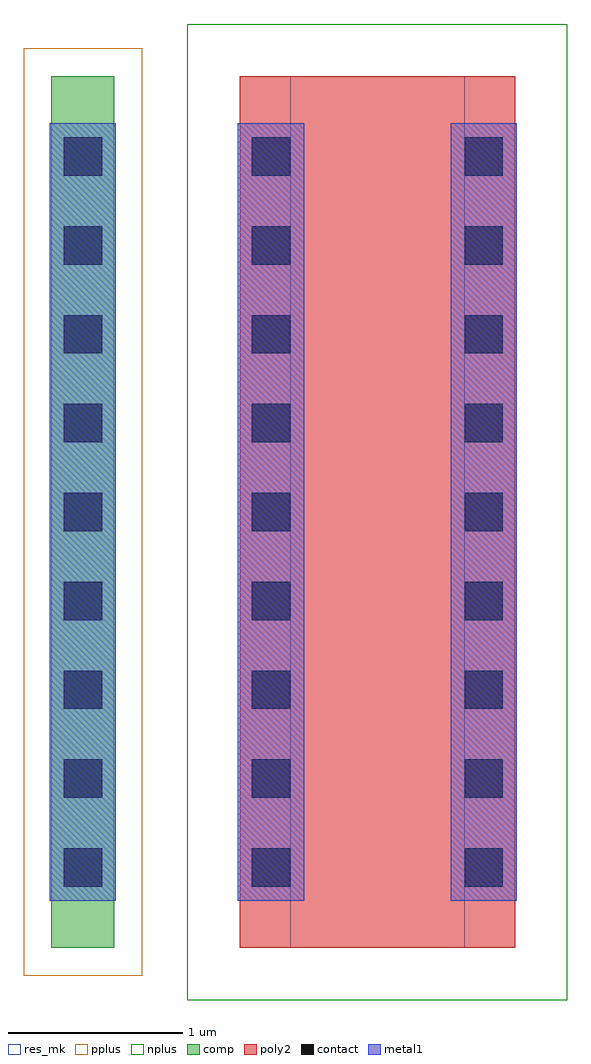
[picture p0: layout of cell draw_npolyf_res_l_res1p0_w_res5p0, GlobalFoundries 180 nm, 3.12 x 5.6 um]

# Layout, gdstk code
import gdstk
lib = gdstk.Library(unit=1e-6, precision=1e-09)
def R(c, l, rs):  # rectangles x0, y0, x1, y1
    for r in rs: c.add(gdstk.rectangle(r[:2], r[2:], *l))
def A(c, l, x, y, w, h, nx, ny, dx, dy):  # array of equal rectangles
    R(c, l, [(x+i*dx, y+j*dy, x+i*dx+w, y+j*dy+h) for i in range(nx) for j in range(ny)])
comp = (22, 0)
poly2 = (30, 0)
pplus = (31, 0)
nplus = (32, 0)
contact = (33, 0)
metal1 = (34, 0)
res_mk = (110, 5)

draw_npolyf_res_l_res1p0 = lib.new_cell('draw_npolyf_res_l_res1p0_w_res5p0')
R(draw_npolyf_res_l_res1p0, comp, [(-1.37,0,-1.01,5)])
R(draw_npolyf_res_l_res1p0, poly2, [(-0.29,0,1.29,5)])
R(draw_npolyf_res_l_res1p0, pplus, [(-1.53,-0.16,-0.85,5.16)])
R(draw_npolyf_res_l_res1p0, nplus, [(-0.59,-0.3,1.59,5.3)])
A(draw_npolyf_res_l_res1p0, contact, -1.3, 0.35, 0.22, 0.22, 1, 9, 0, 0.51)
A(draw_npolyf_res_l_res1p0, contact, -0.22, 0.35, 0.22, 0.22, 1, 9, 0, 0.51)
A(draw_npolyf_res_l_res1p0, contact, 1, 0.35, 0.22, 0.22, 1, 9, 0, 0.51)
R(draw_npolyf_res_l_res1p0, metal1, [(-1.38,0.27,-1,4.73), (-0.3,0.27,0.08,4.73), (0.92,0.27,1.3,4.73)])
R(draw_npolyf_res_l_res1p0, res_mk, [(0,0,1,5)])

lib.write_gds('draw_npolyf_res_l_res1p0_w_res5p0.gds')
